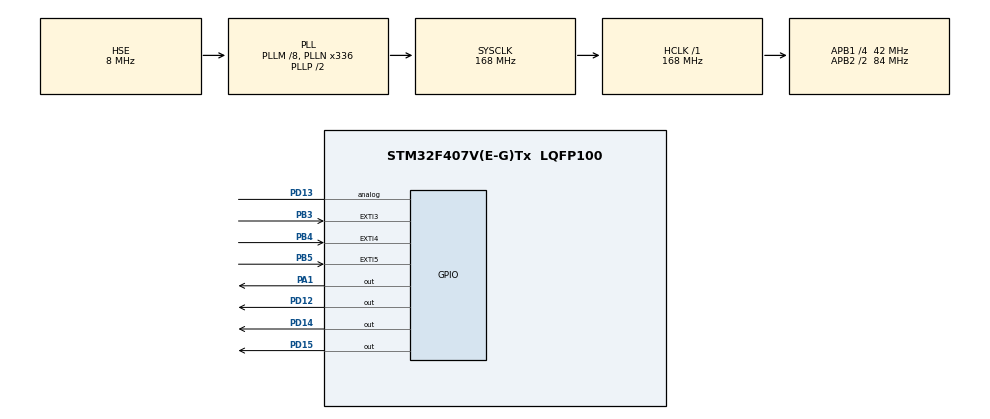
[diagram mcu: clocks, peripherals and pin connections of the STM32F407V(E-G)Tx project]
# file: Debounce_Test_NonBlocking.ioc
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Mcu.Family=STM32F4
Mcu.Name=STM32F407V(E-G)Tx
Mcu.Package=LQFP100
NVIC.EXTI3_IRQn=true\:0\:0\:false\:false\:true\:true\:true\:true
NVIC.EXTI4_IRQn=true\:0\:0\:false\:false\:true\:true\:true\:true
NVIC.EXTI9_5_IRQn=true\:0\:0\:false\:false\:true\:true\:true\:true
NVIC.PriorityGroup=NVIC_PRIORITYGROUP_0
PA1.Signal=GPIO_Output
PA13.Mode=Serial_Wire
PA13.Signal=SYS_JTMS-SWDIO
PA14.Mode=Serial_Wire
PA14.Signal=SYS_JTCK-SWCLK
PB3.Signal=GPXTI3
PB4.Signal=GPXTI4
PB5.Signal=GPXTI5
PD12.Signal=GPIO_Output
PD13.Signal=GPIO_Analog
PD14.Signal=GPIO_Output
PD15.Signal=GPIO_Output
PH0-OSC_IN.Mode=HSE-External-Oscillator
PH0-OSC_IN.Signal=RCC_OSC_IN
PH1-OSC_OUT.Mode=HSE-External-Oscillator
PH1-OSC_OUT.Signal=RCC_OSC_OUT
ProjectManager.HeapSize=0x200
ProjectManager.StackSize=0x400
ProjectManager.TargetToolchain=STM32CubeIDE
RCC.48MHZClocksFreq_Value=48000000
RCC.AHBFreq_Value=168000000
RCC.APB1CLKDivider=RCC_HCLK_DIV4
RCC.APB1Freq_Value=42000000
RCC.APB1TimFreq_Value=84000000
RCC.APB2CLKDivider=RCC_HCLK_DIV2
RCC.APB2Freq_Value=84000000
RCC.APB2TimFreq_Value=168000000
RCC.CortexFreq_Value=168000000
RCC.HCLKFreq_Value=168000000
RCC.HSE_VALUE=8000000
RCC.HSI_VALUE=16000000
RCC.LSE_VALUE=32768
RCC.PLLM=8
RCC.PLLN=336
RCC.PLLQ=7
RCC.PLLSourceVirtual=RCC_PLLSOURCE_HSE
RCC.SYSCLKFreq_VALUE=168000000
RCC.SYSCLKSource=RCC_SYSCLKSOURCE_PLLCLK
RCC.VCOOutputFreq_Value=336000000
board=STM32F407G-DISC1

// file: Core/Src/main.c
/* USER CODE BEGIN Header */
/**
  ******************************************************************************
  * @file           : main.c
  * @brief          : Main program body
  ******************************************************************************
  * @attention
  *
  * Copyright (c) 2023 STMicroelectronics.
  * All rights reserved.
  *
  * This software is licensed under terms that can be found in the LICENSE file
  * in the root directory of this software component.
  * If no LICENSE file comes with this software, it is provided AS-IS.
  *
  ******************************************************************************
  */
/* USER CODE END Header */
#include "main.h"

/* USER CODE BEGIN PM */
#define DEBOUNCE_DELAY_MS 100

#define BUTTON_PORT GPIOB
#define BUTTON1_PIN GPIO_PIN_3
#define BUTTON2_PIN GPIO_PIN_4
#define BUTTON3_PIN GPIO_PIN_5

/* USER CODE END PM */

/* USER CODE BEGIN PV */
// status flags
volatile uint8_t button1_flag = 0;
volatile uint8_t button2_flag = 0;
volatile uint8_t button3_flag = 0;

GPIO_PinState current_button1_state = GPIO_PIN_RESET;
GPIO_PinState button1_state = GPIO_PIN_RESET;

GPIO_PinState current_button2_state = GPIO_PIN_RESET;
GPIO_PinState button2_state = GPIO_PIN_RESET;

GPIO_PinState current_button3_state = GPIO_PIN_RESET;
GPIO_PinState button3_state = GPIO_PIN_RESET;

uint32_t debounce_time_1 = 0;
uint32_t debounce_time_2 = 0;
uint32_t debounce_time_3 = 0;

volatile uint32_t current_time_1 = 0;
volatile uint32_t current_time_2 = 0;
volatile uint32_t current_time_3 = 0;
/* USER CODE END PV */

void SystemClock_Config(void);
static void MX_GPIO_Init(void);

/* USER CODE BEGIN 0 */

void HAL_GPIO_EXTI_Callback(uint16_t GPIO_Pin) {

	switch (GPIO_Pin){
		case BUTTON1_PIN :
			button1_state = HAL_GPIO_ReadPin(BUTTON_PORT, BUTTON1_PIN);
			debounce_time_1 = HAL_GetTick() + DEBOUNCE_DELAY_MS;
			button1_flag = 0;
			break;

		case BUTTON2_PIN :
			button2_state = HAL_GPIO_ReadPin(BUTTON_PORT, BUTTON2_PIN);
			debounce_time_2 = HAL_GetTick() + DEBOUNCE_DELAY_MS;
			button2_flag = 0;
			break;

		case BUTTON3_PIN :
			button3_state = HAL_GPIO_ReadPin(BUTTON_PORT, BUTTON3_PIN);
			debounce_time_3 = HAL_GetTick() + DEBOUNCE_DELAY_MS;
			button3_flag = 0;
			break;
	}
}
/* USER CODE END 0 */

int main(void)
{

  /* MCU Configuration--------------------------------------------------------*/

  /* Reset of all peripherals, Initializes the Flash interface and the Systick. */
  HAL_Init();

  /* Configure the system clock */
  SystemClock_Config();

  /* Initialize all configured peripherals */
  MX_GPIO_Init();

  /* Infinite loop */
  while (1)
  {

    /* USER CODE BEGIN 3 */
	  current_time_1 = HAL_GetTick();
	  current_button1_state = HAL_GPIO_ReadPin(BUTTON_PORT, BUTTON1_PIN);
	  if ((button1_state & current_button1_state) == 1) {
		  if (current_time_1 >= debounce_time_1) {
			  // Button 1 state has not changed after debounce
			  button1_flag = button1_state;
			  HAL_GPIO_TogglePin(GPIOD, GPIO_PIN_14);
			  button1_state = 0;
			  current_button1_state = 0;
		  }
	  }

	  current_time_2 = HAL_GetTick();
	  current_button2_state = HAL_GPIO_ReadPin(BUTTON_PORT, BUTTON2_PIN);
	  if ((button2_state & current_button2_state) == 1) {
		  if (current_time_2 >= debounce_time_2) {
			  // Button 2 state has not changed after debounce
			  button2_flag = button2_state;
			  HAL_GPIO_TogglePin(GPIOD, GPIO_PIN_15);
			  button2_state = 0;
			  current_button2_state = 0;
		  }

	  }

	  current_time_3 = HAL_GetTick();
	  current_button3_state = HAL_GPIO_ReadPin(BUTTON_PORT, BUTTON3_PIN);
	  if ((button3_state & current_button3_state) == 1) {
	  	  if (current_time_3 >= debounce_time_3) {
	  		  // Button 3 state has not changed after debounce
			  button3_flag = button3_state;
			  HAL_GPIO_TogglePin(GPIOD, GPIO_PIN_12);
			  button3_state = 0;
			  current_button3_state = button3_state;
		  }
	  }

  }
  /* USER CODE END 3 */
}

void SystemClock_Config(void)
{
  RCC_OscInitTypeDef RCC_OscInitStruct = {0};
  RCC_ClkInitTypeDef RCC_ClkInitStruct = {0};

  /** Configure the main internal regulator output voltage
  */
  __HAL_RCC_PWR_CLK_ENABLE();
  __HAL_PWR_VOLTAGESCALING_CONFIG(PWR_REGULATOR_VOLTAGE_SCALE1);

  /** Initializes the RCC Oscillators according to the specified parameters
  * in the RCC_OscInitTypeDef structure.
  */
  RCC_OscInitStruct.OscillatorType = RCC_OSCILLATORTYPE_HSE;
  RCC_OscInitStruct.HSEState = RCC_HSE_ON;
  RCC_OscInitStruct.PLL.PLLState = RCC_PLL_ON;
  RCC_OscInitStruct.PLL.PLLSource = RCC_PLLSOURCE_HSE;
  RCC_OscInitStruct.PLL.PLLM = 8;
  RCC_OscInitStruct.PLL.PLLN = 336;
  RCC_OscInitStruct.PLL.PLLP = RCC_PLLP_DIV2;
  RCC_OscInitStruct.PLL.PLLQ = 7;
  if (HAL_RCC_OscConfig(&RCC_OscInitStruct) != HAL_OK)
  {
    Error_Handler();
  }

  /** Initializes the CPU, AHB and APB buses clocks
  */
  RCC_ClkInitStruct.ClockType = RCC_CLOCKTYPE_HCLK|RCC_CLOCKTYPE_SYSCLK
                              |RCC_CLOCKTYPE_PCLK1|RCC_CLOCKTYPE_PCLK2;
  RCC_ClkInitStruct.SYSCLKSource = RCC_SYSCLKSOURCE_PLLCLK;
  RCC_ClkInitStruct.AHBCLKDivider = RCC_SYSCLK_DIV1;
  RCC_ClkInitStruct.APB1CLKDivider = RCC_HCLK_DIV4;
  RCC_ClkInitStruct.APB2CLKDivider = RCC_HCLK_DIV2;

  if (HAL_RCC_ClockConfig(&RCC_ClkInitStruct, FLASH_LATENCY_5) != HAL_OK)
  {
    Error_Handler();
  }
}

static void MX_GPIO_Init(void)
{
  GPIO_InitTypeDef GPIO_InitStruct = {0};

  /* GPIO Ports Clock Enable */
  __HAL_RCC_GPIOH_CLK_ENABLE();
  __HAL_RCC_GPIOA_CLK_ENABLE();
  __HAL_RCC_GPIOD_CLK_ENABLE();
  __HAL_RCC_GPIOB_CLK_ENABLE();

  /*Configure GPIO pin Output Level */
  HAL_GPIO_WritePin(GPIOA, GPIO_PIN_1, GPIO_PIN_RESET);

  /*Configure GPIO pin Output Level */
  HAL_GPIO_WritePin(GPIOD, GPIO_PIN_12|GPIO_PIN_14|GPIO_PIN_15, GPIO_PIN_RESET);

  /*Configure GPIO pin : PA1 */
  GPIO_InitStruct.Pin = GPIO_PIN_1;
  GPIO_InitStruct.Mode = GPIO_MODE_OUTPUT_PP;
  GPIO_InitStruct.Pull = GPIO_NOPULL;
  GPIO_InitStruct.Speed = GPIO_SPEED_FREQ_LOW;
  HAL_GPIO_Init(GPIOA, &GPIO_InitStruct);

  /*Configure GPIO pins : PD12 PD14 PD15 */
  GPIO_InitStruct.Pin = GPIO_PIN_12|GPIO_PIN_14|GPIO_PIN_15;
  GPIO_InitStruct.Mode = GPIO_MODE_OUTPUT_PP;
  GPIO_InitStruct.Pull = GPIO_NOPULL;
  GPIO_InitStruct.Speed = GPIO_SPEED_FREQ_LOW;
  HAL_GPIO_Init(GPIOD, &GPIO_InitStruct);

  /*Configure GPIO pin : PD13 */
  GPIO_InitStruct.Pin = GPIO_PIN_13;
  GPIO_InitStruct.Mode = GPIO_MODE_ANALOG;
  GPIO_InitStruct.Pull = GPIO_NOPULL;
  HAL_GPIO_Init(GPIOD, &GPIO_InitStruct);

  /*Configure GPIO pins : PB3 PB4 PB5 */
  GPIO_InitStruct.Pin = GPIO_PIN_3|GPIO_PIN_4|GPIO_PIN_5;
  GPIO_InitStruct.Mode = GPIO_MODE_IT_RISING;
  GPIO_InitStruct.Pull = GPIO_NOPULL;
  HAL_GPIO_Init(GPIOB, &GPIO_InitStruct);

  /* EXTI interrupt init*/
  HAL_NVIC_SetPriority(EXTI3_IRQn, 0, 0);
  HAL_NVIC_EnableIRQ(EXTI3_IRQn);

  HAL_NVIC_SetPriority(EXTI4_IRQn, 0, 0);
  HAL_NVIC_EnableIRQ(EXTI4_IRQn);

  HAL_NVIC_SetPriority(EXTI9_5_IRQn, 0, 0);
  HAL_NVIC_EnableIRQ(EXTI9_5_IRQn);

}

void Error_Handler(void)
{
  __disable_irq();
  while (1)
  {
  }
}
